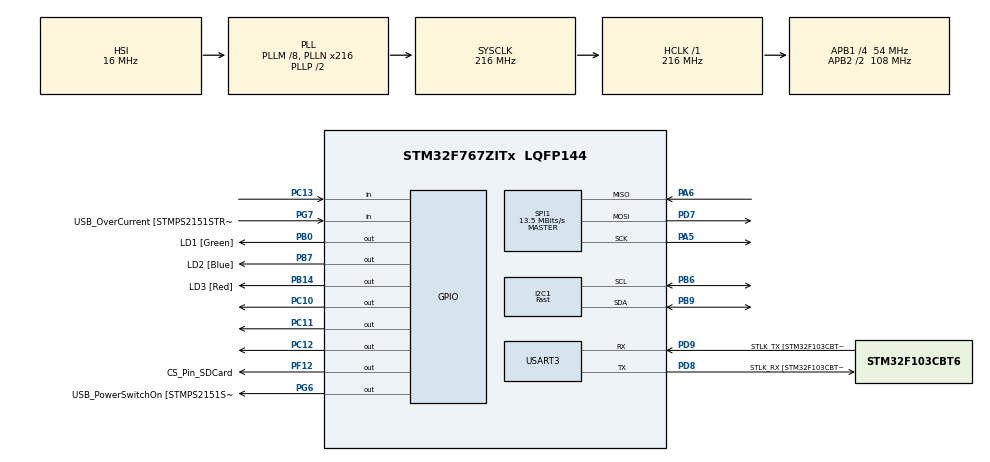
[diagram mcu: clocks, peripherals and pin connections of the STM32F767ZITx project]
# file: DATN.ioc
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FATFS._MAX_SS=4096
FATFS._USE_LFN=1
I2C1.I2C_Speed_Mode=I2C_Fast
I2C1.Timing=0x6000030D
Mcu.Family=STM32F7
Mcu.Name=STM32F767ZITx
Mcu.Package=LQFP144
NVIC.PriorityGroup=NVIC_PRIORITYGROUP_4
NVIC.TIM6_DAC_IRQn=true\:15\:0\:false\:false\:true\:false\:true\:true
NVIC.TimeBase=TIM6_DAC_IRQn
NVIC.TimeBaseIP=TIM6
NVIC.USART3_IRQn=true\:6\:0\:true\:false\:true\:true\:true\:true
PA1.GPIO_Label=RMII_REF_CLK [LAN8742A-CZ-TR_REFCLK0]
PA1.Signal=ETH_REF_CLK
PA10.GPIO_Label=USB_ID
PA10.Signal=USB_OTG_FS_ID
PA11.GPIO_Label=USB_DM
PA11.Signal=USB_OTG_FS_DM
PA12.GPIO_Label=USB_DP
PA12.Signal=USB_OTG_FS_DP
PA13.GPIO_Label=TMS
PA13.Mode=Serial_Wire
PA13.Signal=SYS_JTMS-SWDIO
PA14.GPIO_Label=TCK
PA14.Mode=Serial_Wire
PA14.Signal=SYS_JTCK-SWCLK
PA2.GPIO_Label=RMII_MDIO [LAN8742A-CZ-TR_MDIO]
PA2.Signal=ETH_MDIO
PA5.Mode=Full_Duplex_Master
PA5.Signal=SPI1_SCK
PA6.Mode=Full_Duplex_Master
PA6.Signal=SPI1_MISO
PA7.GPIO_Label=RMII_CRS_DV [LAN8742A-CZ-TR_CRS_DV]
PA7.Signal=ETH_CRS_DV
PA8.GPIO_Label=USB_SOF [TP1]
PA8.Signal=USB_OTG_FS_SOF
PA9.GPIO_Label=USB_VBUS
PA9.Signal=USB_OTG_FS_VBUS
PB0.GPIO_Label=LD1 [Green]
PB0.Signal=GPIO_Output
PB13.GPIO_Label=RMII_TXD1 [LAN8742A-CZ-TR_TXD1]
PB13.Signal=ETH_TXD1
PB14.GPIO_Label=LD3 [Red]
PB14.Signal=GPIO_Output
PB3.GPIO_Label=SW0
PB3.Signal=SYS_JTDO-SWO
PB6.Mode=I2C
PB6.Signal=I2C1_SCL
PB7.GPIO_Label=LD2 [Blue]
PB7.Signal=GPIO_Output
PB9.Mode=I2C
PB9.Signal=I2C1_SDA
PC1.GPIO_Label=RMII_MDC [LAN8742A-CZ-TR_MDC]
PC1.Signal=ETH_MDC
PC10.Signal=GPIO_Output
PC11.Signal=GPIO_Output
PC12.Signal=GPIO_Output
PC13.Signal=GPIO_Input
PC14/OSC32_IN.Signal=RCC_OSC32_IN
PC15/OSC32_OUT.Signal=RCC_OSC32_OUT
PC4.GPIO_Label=RMII_RXD0 [LAN8742A-CZ-TR_RXD0]
PC4.Signal=ETH_RXD0
PC5.GPIO_Label=RMII_RXD1 [LAN8742A-CZ-TR_RXD1]
PC5.Signal=ETH_RXD1
PD7.Mode=Full_Duplex_Master
PD7.Signal=SPI1_MOSI
PD8.GPIO_Label=STLK_RX [STM32F103CBT6_PA3]
PD8.Mode=Asynchronous
PD8.Signal=USART3_TX
PD9.GPIO_Label=STLK_TX [STM32F103CBT6_PA2]
PD9.Mode=Asynchronous
PD9.Signal=USART3_RX
PF12.GPIO_Label=CS_Pin_SDCard
PF12.Signal=GPIO_Output
PG11.GPIO_Label=RMII_TX_EN [LAN8742A-CZ-TR_TXEN]
PG11.Signal=ETH_TX_EN
PG13.GPIO_Label=RMII_TXD0 [LAN8742A-CZ-TR_TXD0]
PG13.Signal=ETH_TXD0
PG6.GPIO_Label=USB_PowerSwitchOn [STMPS2151STR_EN]
PG6.Signal=GPIO_Output
PG7.GPIO_Label=USB_OverCurrent [STMPS2151STR_FAULT]
PG7.Signal=GPIO_Input
PH0/OSC_IN.GPIO_Label=MCO [STM32F103CBT6_PA8]
PH0/OSC_IN.Mode=HSE-External-Oscillator
PH0/OSC_IN.Signal=RCC_OSC_IN
PH1/OSC_OUT.Mode=HSE-External-Oscillator
PH1/OSC_OUT.Signal=RCC_OSC_OUT
ProjectManager.HeapSize=0x200
ProjectManager.StackSize=0x400
ProjectManager.TargetToolchain=STM32CubeIDE
RCC.48MHZClocksFreq_Value=24000000
RCC.AHBFreq_Value=216000000
RCC.APB1CLKDivider=RCC_HCLK_DIV4
RCC.APB1Freq_Value=54000000
RCC.APB1TimFreq_Value=108000000
RCC.APB2CLKDivider=RCC_HCLK_DIV2
RCC.APB2Freq_Value=108000000
RCC.APB2TimFreq_Value=216000000
RCC.CortexFreq_Value=216000000
RCC.HCLKFreq_Value=216000000
RCC.HSE_VALUE=16000000
RCC.HSI_VALUE=16000000
RCC.LSE_VALUE=32768
RCC.PLLM=8
RCC.PLLMUL=RCC_PLL_MUL9
RCC.PLLN=216
RCC.PRESCALERUSB=RCC_USBCLKSOURCE_PLL_DIV1_5
RCC.SYSCLKFreq_VALUE=216000000
RCC.SYSCLKSource=RCC_SYSCLKSOURCE_PLLCLK
RCC.SYSCLKSourceVirtual=RCC_SYSCLKSOURCE_PLLCLK
RCC.USBFreq_Value=216000000
RCC.VCOOutputFreq_Value=432000000
SPI1.BaudRatePrescaler=SPI_BAUDRATEPRESCALER_8
SPI1.CalculateBaudRate=13.5 MBits/s
SPI1.DataSize=SPI_DATASIZE_8BIT
SPI1.Direction=SPI_DIRECTION_2LINES
SPI1.Mode=SPI_MODE_MASTER
SPI1.VirtualType=VM_MASTER
USART3.VirtualMode-Asynchronous=VM_ASYNC
VP_FATFS_VS_Generic.Mode=User_defined
VP_SYS_VS_tim6.Mode=TIM6
board=NUCLEO-F767ZI

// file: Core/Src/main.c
/* USER CODE BEGIN Header */
/**
 ******************************************************************************
 * @file           : main.c
 * @brief          : Main program body
 ******************************************************************************
 * @attention
 *
 * Copyright (c) 2022 STMicroelectronics.
 * All rights reserved.
 *
 * This software is licensed under terms that can be found in the LICENSE file
 * in the root directory of this software component.
 * If no LICENSE file comes with this software, it is provided AS-IS.
 *
 ******************************************************************************
 */
/* USER CODE END Header */
#include "main.h"
#include "fatfs.h"

I2C_HandleTypeDef hi2c1;

SPI_HandleTypeDef hspi1;

UART_HandleTypeDef huart3;

void SystemClock_Config(void);
static void MX_GPIO_Init(void);
static void MX_I2C1_Init(void);
static void MX_SPI1_Init(void);
static void MX_USART3_UART_Init(void);
TimerHandle_t handle_timerPLC[1];

TaskHandle_t handle_start_task;
TaskHandle_t handle_main_task;
TaskHandle_t handle_send_task;
TaskHandle_t handle_setting_task;
TaskHandle_t handle_command_task;

QueueHandle_t q_data;

volatile uint8_t user_data; // Data gửi vào UART

state_t curr_state = sMenu;

int main(void) {
	/* USER CODE BEGIN 1 */
	BaseType_t status;
	/* USER CODE END 1 */

	/* MCU Configuration--------------------------------------------------------*/

	/* Reset of all peripherals, Initializes the Flash interface and the Systick. */
	HAL_Init();

	/* Configure the system clock */
	SystemClock_Config();

	/* Initialize all configured peripherals */
	MX_GPIO_Init();
	MX_I2C1_Init();
	MX_SPI1_Init();
	MX_USART3_UART_Init();
	MX_FATFS_Init();
	/* USER CODE BEGIN 2 */
	status = xTaskCreate(Main_task, "menu_task", 10000, NULL, 2,&handle_main_task);
	configASSERT(status == pdPASS);
	status = xTaskCreate(Start_task, "start_task", 500, NULL, 2,&handle_start_task);
	configASSERT(status == pdPASS);
	status = xTaskCreate(Send_task, "send_task", 500, NULL, 2,&handle_send_task);
	configASSERT(status == pdPASS);
	status = xTaskCreate(Setting_task, "Setting_task", 500, NULL, 2,&handle_setting_task);
	configASSERT(status == pdPASS);
	status = xTaskCreate(Command_task, "Command_task", 100, NULL, 2,&handle_command_task);
	configASSERT(status == pdPASS);

	q_data = xQueueCreate(10, sizeof(char));
	configASSERT(q_data != NULL);

	/* USER CODE END 2 */
	initTimer();

	HAL_UART_Receive_IT(&huart3, (uint8_t*) &user_data, 1);
	vTaskStartScheduler();
	/* Infinite loop */
	while (1) {

	}
}

void SystemClock_Config(void) {
	RCC_OscInitTypeDef RCC_OscInitStruct = { 0 };
	RCC_ClkInitTypeDef RCC_ClkInitStruct = { 0 };

	/** Configure the main internal regulator output voltage
	 */
	__HAL_RCC_PWR_CLK_ENABLE();
	__HAL_PWR_VOLTAGESCALING_CONFIG(PWR_REGULATOR_VOLTAGE_SCALE1);

	/** Initializes the RCC Oscillators according to the specified parameters
	 * in the RCC_OscInitTypeDef structure.
	 */
	RCC_OscInitStruct.OscillatorType = RCC_OSCILLATORTYPE_HSI;
	RCC_OscInitStruct.HSIState = RCC_HSI_ON;
	RCC_OscInitStruct.HSICalibrationValue = RCC_HSICALIBRATION_DEFAULT;
	RCC_OscInitStruct.PLL.PLLState = RCC_PLL_ON;
	RCC_OscInitStruct.PLL.PLLSource = RCC_PLLSOURCE_HSI;
	RCC_OscInitStruct.PLL.PLLM = 8;
	RCC_OscInitStruct.PLL.PLLN = 216;
	RCC_OscInitStruct.PLL.PLLP = RCC_PLLP_DIV2;
	RCC_OscInitStruct.PLL.PLLQ = 2;
	RCC_OscInitStruct.PLL.PLLR = 2;
	if (HAL_RCC_OscConfig(&RCC_OscInitStruct) != HAL_OK) {
		Error_Handler();
	}

	/** Activate the Over-Drive mode
	 */
	if (HAL_PWREx_EnableOverDrive() != HAL_OK) {
		Error_Handler();
	}

	/** Initializes the CPU, AHB and APB buses clocks
	 */
	RCC_ClkInitStruct.ClockType = RCC_CLOCKTYPE_HCLK | RCC_CLOCKTYPE_SYSCLK
			| RCC_CLOCKTYPE_PCLK1 | RCC_CLOCKTYPE_PCLK2;
	RCC_ClkInitStruct.SYSCLKSource = RCC_SYSCLKSOURCE_PLLCLK;
	RCC_ClkInitStruct.AHBCLKDivider = RCC_SYSCLK_DIV1;
	RCC_ClkInitStruct.APB1CLKDivider = RCC_HCLK_DIV4;
	RCC_ClkInitStruct.APB2CLKDivider = RCC_HCLK_DIV2;

	if (HAL_RCC_ClockConfig(&RCC_ClkInitStruct, FLASH_LATENCY_7) != HAL_OK) {
		Error_Handler();
	}
}

static void MX_I2C1_Init(void) {

	hi2c1.Instance = I2C1;
	hi2c1.Init.Timing = 0x6000030D;
	hi2c1.Init.OwnAddress1 = 0;
	hi2c1.Init.AddressingMode = I2C_ADDRESSINGMODE_7BIT;
	hi2c1.Init.DualAddressMode = I2C_DUALADDRESS_DISABLE;
	hi2c1.Init.OwnAddress2 = 0;
	hi2c1.Init.OwnAddress2Masks = I2C_OA2_NOMASK;
	hi2c1.Init.GeneralCallMode = I2C_GENERALCALL_DISABLE;
	hi2c1.Init.NoStretchMode = I2C_NOSTRETCH_DISABLE;
	if (HAL_I2C_Init(&hi2c1) != HAL_OK) {
		Error_Handler();
	}

	/** Configure Analogue filter
	 */
	if (HAL_I2CEx_ConfigAnalogFilter(&hi2c1, I2C_ANALOGFILTER_ENABLE)
			!= HAL_OK) {
		Error_Handler();
	}

	/** Configure Digital filter
	 */
	if (HAL_I2CEx_ConfigDigitalFilter(&hi2c1, 0) != HAL_OK) {
		Error_Handler();
	}

}

static void MX_SPI1_Init(void) {

	/* SPI1 parameter configuration*/
	hspi1.Instance = SPI1;
	hspi1.Init.Mode = SPI_MODE_MASTER;
	hspi1.Init.Direction = SPI_DIRECTION_2LINES;
	hspi1.Init.DataSize = SPI_DATASIZE_8BIT;
	hspi1.Init.CLKPolarity = SPI_POLARITY_LOW;
	hspi1.Init.CLKPhase = SPI_PHASE_1EDGE;
	hspi1.Init.NSS = SPI_NSS_SOFT;
	hspi1.Init.BaudRatePrescaler = SPI_BAUDRATEPRESCALER_8;
	hspi1.Init.FirstBit = SPI_FIRSTBIT_MSB;
	hspi1.Init.TIMode = SPI_TIMODE_DISABLE;
	hspi1.Init.CRCCalculation = SPI_CRCCALCULATION_DISABLE;
	hspi1.Init.CRCPolynomial = 7;
	hspi1.Init.CRCLength = SPI_CRC_LENGTH_DATASIZE;
	hspi1.Init.NSSPMode = SPI_NSS_PULSE_ENABLE;
	if (HAL_SPI_Init(&hspi1) != HAL_OK) {
		Error_Handler();
	}

}

static void MX_USART3_UART_Init(void) {

	huart3.Instance = USART3;
	huart3.Init.BaudRate = 115200;
	huart3.Init.WordLength = UART_WORDLENGTH_8B;
	huart3.Init.StopBits = UART_STOPBITS_1;
	huart3.Init.Parity = UART_PARITY_NONE;
	huart3.Init.Mode = UART_MODE_TX_RX;
	huart3.Init.HwFlowCtl = UART_HWCONTROL_NONE;
	huart3.Init.OverSampling = UART_OVERSAMPLING_16;
	huart3.Init.OneBitSampling = UART_ONE_BIT_SAMPLE_DISABLE;
	huart3.AdvancedInit.AdvFeatureInit = UART_ADVFEATURE_NO_INIT;
	if (HAL_UART_Init(&huart3) != HAL_OK) {
		Error_Handler();
	}

}

static void MX_GPIO_Init(void) {
	GPIO_InitTypeDef GPIO_InitStruct = { 0 };

	/* GPIO Ports Clock Enable */
	__HAL_RCC_GPIOC_CLK_ENABLE();
	__HAL_RCC_GPIOH_CLK_ENABLE();
	__HAL_RCC_GPIOA_CLK_ENABLE();
	__HAL_RCC_GPIOB_CLK_ENABLE();
	__HAL_RCC_GPIOF_CLK_ENABLE();
	__HAL_RCC_GPIOD_CLK_ENABLE();
	__HAL_RCC_GPIOG_CLK_ENABLE();

	/*Configure GPIO pin Output Level */
	HAL_GPIO_WritePin(GPIOB, LD1_Pin | LD3_Pin | LD2_Pin, GPIO_PIN_RESET);

	/*Configure GPIO pin Output Level */
	HAL_GPIO_WritePin(CS_Pin_SDCard_GPIO_Port, CS_Pin_SDCard_Pin,
			GPIO_PIN_RESET);

	/*Configure GPIO pin Output Level */
	HAL_GPIO_WritePin(USB_PowerSwitchOn_GPIO_Port, USB_PowerSwitchOn_Pin,
			GPIO_PIN_RESET);

	/*Configure GPIO pin Output Level */
	HAL_GPIO_WritePin(GPIOC, GPIO_PIN_10 | GPIO_PIN_11 | GPIO_PIN_12,
			GPIO_PIN_RESET);

	/*Configure GPIO pin : PC13 */
	GPIO_InitStruct.Pin = GPIO_PIN_13;
	GPIO_InitStruct.Mode = GPIO_MODE_INPUT;
	GPIO_InitStruct.Pull = GPIO_NOPULL;
	HAL_GPIO_Init(GPIOC, &GPIO_InitStruct);

	/*Configure GPIO pins : RMII_MDC_Pin RMII_RXD0_Pin RMII_RXD1_Pin */
	GPIO_InitStruct.Pin = RMII_MDC_Pin | RMII_RXD0_Pin | RMII_RXD1_Pin;
	GPIO_InitStruct.Mode = GPIO_MODE_AF_PP;
	GPIO_InitStruct.Pull = GPIO_NOPULL;
	GPIO_InitStruct.Speed = GPIO_SPEED_FREQ_VERY_HIGH;
	GPIO_InitStruct.Alternate = GPIO_AF11_ETH;
	HAL_GPIO_Init(GPIOC, &GPIO_InitStruct);

	/*Configure GPIO pins : RMII_REF_CLK_Pin RMII_MDIO_Pin RMII_CRS_DV_Pin */
	GPIO_InitStruct.Pin = RMII_REF_CLK_Pin | RMII_MDIO_Pin | RMII_CRS_DV_Pin;
	GPIO_InitStruct.Mode = GPIO_MODE_AF_PP;
	GPIO_InitStruct.Pull = GPIO_NOPULL;
	GPIO_InitStruct.Speed = GPIO_SPEED_FREQ_VERY_HIGH;
	GPIO_InitStruct.Alternate = GPIO_AF11_ETH;
	HAL_GPIO_Init(GPIOA, &GPIO_InitStruct);

	/*Configure GPIO pins : LD1_Pin LD3_Pin LD2_Pin */
	GPIO_InitStruct.Pin = LD1_Pin | LD3_Pin | LD2_Pin;
	GPIO_InitStruct.Mode = GPIO_MODE_OUTPUT_PP;
	GPIO_InitStruct.Pull = GPIO_NOPULL;
	GPIO_InitStruct.Speed = GPIO_SPEED_FREQ_LOW;
	HAL_GPIO_Init(GPIOB, &GPIO_InitStruct);

	/*Configure GPIO pin : CS_Pin_SDCard_Pin */
	GPIO_InitStruct.Pin = CS_Pin_SDCard_Pin;
	GPIO_InitStruct.Mode = GPIO_MODE_OUTPUT_PP;
	GPIO_InitStruct.Pull = GPIO_NOPULL;
	GPIO_InitStruct.Speed = GPIO_SPEED_FREQ_LOW;
	HAL_GPIO_Init(CS_Pin_SDCard_GPIO_Port, &GPIO_InitStruct);

	/*Configure GPIO pin : RMII_TXD1_Pin */
	GPIO_InitStruct.Pin = RMII_TXD1_Pin;
	GPIO_InitStruct.Mode = GPIO_MODE_AF_PP;
	GPIO_InitStruct.Pull = GPIO_NOPULL;
	GPIO_InitStruct.Speed = GPIO_SPEED_FREQ_VERY_HIGH;
	GPIO_InitStruct.Alternate = GPIO_AF11_ETH;
	HAL_GPIO_Init(RMII_TXD1_GPIO_Port, &GPIO_InitStruct);

	/*Configure GPIO pin : USB_PowerSwitchOn_Pin */
	GPIO_InitStruct.Pin = USB_PowerSwitchOn_Pin;
	GPIO_InitStruct.Mode = GPIO_MODE_OUTPUT_PP;
	GPIO_InitStruct.Pull = GPIO_NOPULL;
	GPIO_InitStruct.Speed = GPIO_SPEED_FREQ_LOW;
	HAL_GPIO_Init(USB_PowerSwitchOn_GPIO_Port, &GPIO_InitStruct);

	/*Configure GPIO pin : USB_OverCurrent_Pin */
	GPIO_InitStruct.Pin = USB_OverCurrent_Pin;
	GPIO_InitStruct.Mode = GPIO_MODE_INPUT;
	GPIO_InitStruct.Pull = GPIO_NOPULL;
	HAL_GPIO_Init(USB_OverCurrent_GPIO_Port, &GPIO_InitStruct);

	/*Configure GPIO pins : USB_SOF_Pin USB_ID_Pin USB_DM_Pin USB_DP_Pin */
	GPIO_InitStruct.Pin = USB_SOF_Pin | USB_ID_Pin | USB_DM_Pin | USB_DP_Pin;
	GPIO_InitStruct.Mode = GPIO_MODE_AF_PP;
	GPIO_InitStruct.Pull = GPIO_NOPULL;
	GPIO_InitStruct.Speed = GPIO_SPEED_FREQ_VERY_HIGH;
	GPIO_InitStruct.Alternate = GPIO_AF10_OTG_FS;
	HAL_GPIO_Init(GPIOA, &GPIO_InitStruct);

	/*Configure GPIO pin : USB_VBUS_Pin */
	GPIO_InitStruct.Pin = USB_VBUS_Pin;
	GPIO_InitStruct.Mode = GPIO_MODE_INPUT;
	GPIO_InitStruct.Pull = GPIO_NOPULL;
	HAL_GPIO_Init(USB_VBUS_GPIO_Port, &GPIO_InitStruct);

	/*Configure GPIO pins : PC10 PC11 PC12 */
	GPIO_InitStruct.Pin = GPIO_PIN_10 | GPIO_PIN_11 | GPIO_PIN_12;
	GPIO_InitStruct.Mode = GPIO_MODE_OUTPUT_PP;
	GPIO_InitStruct.Pull = GPIO_NOPULL;
	GPIO_InitStruct.Speed = GPIO_SPEED_FREQ_LOW;
	HAL_GPIO_Init(GPIOC, &GPIO_InitStruct);

	/*Configure GPIO pins : RMII_TX_EN_Pin RMII_TXD0_Pin */
	GPIO_InitStruct.Pin = RMII_TX_EN_Pin | RMII_TXD0_Pin;
	GPIO_InitStruct.Mode = GPIO_MODE_AF_PP;
	GPIO_InitStruct.Pull = GPIO_NOPULL;
	GPIO_InitStruct.Speed = GPIO_SPEED_FREQ_VERY_HIGH;
	GPIO_InitStruct.Alternate = GPIO_AF11_ETH;
	HAL_GPIO_Init(GPIOG, &GPIO_InitStruct);

}

/* USER CODE BEGIN 4 */
void vAssertCalled(uint32_t ulLine, const char *pcFile) {
	volatile unsigned long ul = 0;
	(void) pcFile;
	(void) ulLine;
	taskENTER_CRITICAL();
	{
		/* Set ul to a non-zero value using the debugger to step out of this
		 function. */
		while (ul == 0) {
			__NOP();
		}
	}
	taskEXIT_CRITICAL();
}

void HAL_UART_RxCpltCallback(UART_HandleTypeDef *huart) {
	uint8_t dummy;
	for (int i = 0; i < 4000; i++)
		;

	if (!xQueueIsQueueFullFromISR(q_data)) // Kiểm tra hàng đợi đã đầy chưa nếu chưa sẽ trả về pdFALSE còn nếu đầy rồi thì trả về pdTRUE
			{
		/*Queue is not full */
		/*TODO: Enqueue data byte */
		xQueueSendFromISR(q_data, (void* )&user_data, NULL); // user_data là nơi nhận data đc nhận về  thông qua khai báo HAL_UART_Receive_IT

	} else {
		/*Queue is full */

		if (user_data == '\n') {
			/*user_data = '\n' */
			/*TODO: make sure that last data byte of the queue is '\n' */
			xQueueReceiveFromISR(q_data, (void*) &dummy, NULL); // delete last data byte
			xQueueSendFromISR(q_data, (void* )&user_data, NULL);
		}
	}

	/*TODO: send notification to command handling task if user_data = '\n' */
	if (user_data == '\n') {
		xTaskNotifyFromISR(handle_command_task, 0, eNoAction, NULL);
	}

	/* TODO: Enable UART data byte reception again in IT mode */
	HAL_UART_Receive_IT(&huart3, (uint8_t*) &user_data, 1);
}
/* USER CODE END 4 */

void HAL_TIM_PeriodElapsedCallback(TIM_HandleTypeDef *htim) {
	if (htim->Instance == TIM6) {
		HAL_IncTick();
	}
}

void Error_Handler(void) {
	__disable_irq();
	while (1) {
	}
}
